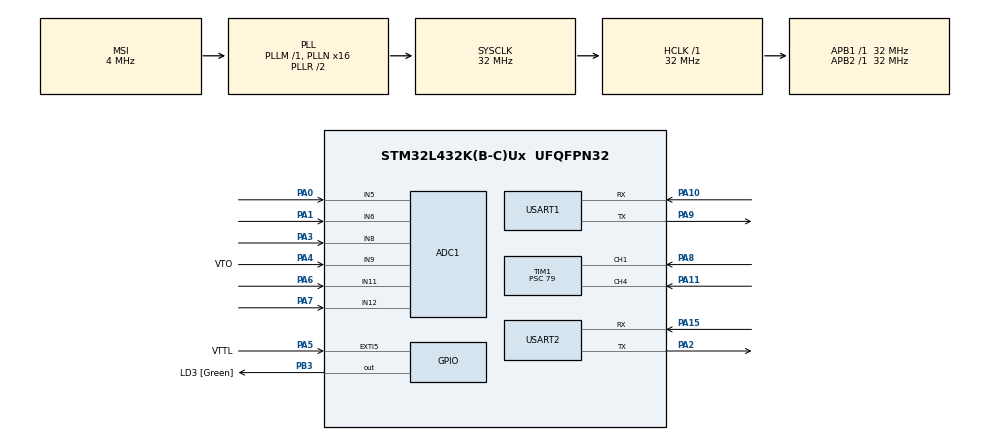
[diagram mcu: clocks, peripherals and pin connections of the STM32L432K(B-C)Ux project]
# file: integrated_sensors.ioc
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ADC1.Channel-0\#ChannelRegularConversion=ADC_CHANNEL_5
ADC1.Channel-1\#ChannelRegularConversion=ADC_CHANNEL_6
ADC1.Channel-3\#ChannelRegularConversion=ADC_CHANNEL_9
ADC1.Channel-4\#ChannelRegularConversion=ADC_CHANNEL_11
ADC1.Channel-5\#ChannelRegularConversion=ADC_CHANNEL_12
ADC1.ContinuousConvMode=ENABLE
ADC1.DMAContinuousRequests=ENABLE
ADC1.NbrOfConversion=5
ADC1.NbrOfConversionFlag=1
ADC1.OffsetNumber-0\#ChannelRegularConversion=ADC_OFFSET_NONE
ADC1.OffsetNumber-1\#ChannelRegularConversion=ADC_OFFSET_NONE
ADC1.OffsetNumber-3\#ChannelRegularConversion=ADC_OFFSET_NONE
ADC1.OffsetNumber-4\#ChannelRegularConversion=ADC_OFFSET_NONE
ADC1.OffsetNumber-5\#ChannelRegularConversion=ADC_OFFSET_NONE
ADC1.OversamplingMode=DISABLE
ADC1.Rank-0\#ChannelRegularConversion=1
ADC1.Rank-1\#ChannelRegularConversion=2
ADC1.Rank-3\#ChannelRegularConversion=3
ADC1.Rank-4\#ChannelRegularConversion=4
ADC1.Rank-5\#ChannelRegularConversion=5
ADC1.SamplingTime-0\#ChannelRegularConversion=ADC_SAMPLETIME_640CYCLES_5
ADC1.SamplingTime-1\#ChannelRegularConversion=ADC_SAMPLETIME_640CYCLES_5
ADC1.SamplingTime-3\#ChannelRegularConversion=ADC_SAMPLETIME_640CYCLES_5
ADC1.SamplingTime-4\#ChannelRegularConversion=ADC_SAMPLETIME_640CYCLES_5
ADC1.SamplingTime-5\#ChannelRegularConversion=ADC_SAMPLETIME_640CYCLES_5
ADC1.master=1
Dma.ADC1.0.Direction=DMA_PERIPH_TO_MEMORY
Dma.ADC1.0.Instance=DMA1_Channel1
Dma.ADC1.0.MemDataAlignment=DMA_MDATAALIGN_HALFWORD
Dma.ADC1.0.MemInc=DMA_MINC_ENABLE
Dma.ADC1.0.Mode=DMA_CIRCULAR
Dma.ADC1.0.PeriphDataAlignment=DMA_PDATAALIGN_HALFWORD
Dma.ADC1.0.PeriphInc=DMA_PINC_DISABLE
Dma.ADC1.0.Priority=DMA_PRIORITY_LOW
Dma.Request0=ADC1
Mcu.Family=STM32L4
Mcu.Name=STM32L432K(B-C)Ux
Mcu.Package=UFQFPN32
NVIC.DMA1_Channel1_IRQn=true\:0\:0\:false\:false\:true\:false\:true\:true
NVIC.EXTI9_5_IRQn=true\:0\:0\:false\:false\:true\:true\:true\:true
NVIC.PriorityGroup=NVIC_PRIORITYGROUP_4
NVIC.TIM1_CC_IRQn=true\:0\:0\:false\:false\:true\:true\:true\:true
NVIC.TIM2_IRQn=true\:0\:0\:false\:false\:true\:true\:true\:true
NVIC.USART2_IRQn=true\:0\:0\:false\:false\:true\:true\:true\:true
PA0.Signal=ADCx_IN5
PA1.Signal=ADCx_IN6
PA10.Mode=Asynchronous
PA10.Signal=USART1_RX
PA11.Signal=S_TIM1_CH4
PA13\ (JTMS-SWDIO).GPIO_Label=SWDIO
PA13\ (JTMS-SWDIO).Mode=Serial_Wire
PA13\ (JTMS-SWDIO).Signal=SYS_JTMS-SWDIO
PA14\ (JTCK-SWCLK).GPIO_Label=SWCLK
PA14\ (JTCK-SWCLK).Mode=Serial_Wire
PA14\ (JTCK-SWCLK).Signal=SYS_JTCK-SWCLK
PA15\ (JTDI).Mode=Asynchronous
PA15\ (JTDI).Signal=USART2_RX
PA2.Mode=Asynchronous
PA2.Signal=USART2_TX
PA3.Signal=ADCx_IN8
PA4.GPIO_Label=VTO
PA4.Signal=ADCx_IN9
PA5.GPIO_Label=VTTL
PA5.GPIO_ModeDefaultEXTI=GPIO_MODE_IT_RISING
PA5.Signal=GPXTI5
PA6.Signal=ADCx_IN11
PA7.Signal=ADCx_IN12
PA8.Signal=S_TIM1_CH1
PA9.Mode=Asynchronous
PA9.Signal=USART1_TX
PB3\ (JTDO-TRACESWO).GPIO_Label=LD3 [Green]
PB3\ (JTDO-TRACESWO).Signal=GPIO_Output
PC14-OSC32_IN\ (PC14).Mode=LSE-External-Oscillator
PC14-OSC32_IN\ (PC14).Signal=RCC_OSC32_IN
PC15-OSC32_OUT\ (PC15).Mode=LSE-External-Oscillator
PC15-OSC32_OUT\ (PC15).Signal=RCC_OSC32_OUT
ProjectManager.HeapSize=0x200
ProjectManager.StackSize=0x400
ProjectManager.TargetToolchain=STM32CubeIDE
RCC.ADCFreq_Value=32000000
RCC.AHBFreq_Value=32000000
RCC.APB1Freq_Value=32000000
RCC.APB1TimFreq_Value=32000000
RCC.APB2Freq_Value=32000000
RCC.APB2TimFreq_Value=32000000
RCC.CortexFreq_Value=32000000
RCC.HCLKFreq_Value=32000000
RCC.HSE_VALUE=8000000
RCC.HSI16_VALUE=16000000
RCC.HSI48_VALUE=48000000
RCC.HSI_VALUE=16000000
RCC.MSI_VALUE=4000000
RCC.PLLMUL=RCC_PLLMUL_4
RCC.PLLN=16
RCC.PLLSAI1N=16
RCC.SYSCLKFreq_VALUE=32000000
RCC.SYSCLKSource=RCC_SYSCLKSOURCE_PLLCLK
RCC.USBFreq_Value=32000000
RCC.VCOOutputFreq_Value=64000000
SH.ADCx_IN11.0=ADC1_IN11,IN11-Single-Ended
SH.ADCx_IN12.0=ADC1_IN12,IN12-Single-Ended
SH.ADCx_IN5.0=ADC1_IN5,IN5-Single-Ended
SH.ADCx_IN6.0=ADC1_IN6,IN6-Single-Ended
SH.ADCx_IN8.0=ADC1_IN8,IN8-Single-Ended
SH.ADCx_IN9.0=ADC1_IN9,IN9-Single-Ended
SH.S_TIM1_CH1.0=TIM1_CH1,Input_Capture1_from_TI1
SH.S_TIM1_CH4.0=TIM1_CH4,Input_Capture4_from_TI4
TIM1.Channel-Input_Capture1_from_TI1=TIM_CHANNEL_1
TIM1.Channel-Input_Capture4_from_TI4=TIM_CHANNEL_4
TIM1.Prescaler=79
TIM2.AutoReloadPreload=TIM_AUTORELOAD_PRELOAD_ENABLE
TIM2.Period=999
TIM2.Prescaler=15
USART1.VirtualMode-Asynchronous=VM_ASYNC
USART2.VirtualMode-Asynchronous=VM_ASYNC
VP_TIM2_VS_ClockSourceINT.Mode=Internal
board=NUCLEO-L432KC

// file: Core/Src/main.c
/* USER CODE BEGIN Header */
/**
  ******************************************************************************
  * @file           : main.c
  * @brief          : Main program body
  ******************************************************************************
  * @attention
  *
  * Copyright (c) 2026 STMicroelectronics.
  * All rights reserved.
  *
  * This software is licensed under terms that can be found in the LICENSE file
  * in the root directory of this software component.
  * If no LICENSE file comes with this software, it is provided AS-IS.
  *
  ******************************************************************************
  */
/* USER CODE END Header */
#include "main.h"

/* USER CODE BEGIN Includes */
#include <stdio.h>
#include <string.h>
#include <math.h>
/* USER CODE END Includes */

/* USER CODE BEGIN PD */

// pressure sensors
#define ADC_MAX_COUNT        4095.0f
#define VREF_VOLTS           3.3f
#define DIVIDER_RATIO        0.5f
#define SENSOR_V_AT_ZERO    0.5f
#define SENSOR_VOLTAGE_SPAN 4.0f
#define SENSOR_PSI_MAX      30.0f
#define PSI_TO_MMHG         51.71493f
#define MA_DEPTH             10

#define FLOW_PULSES_PER_LITRE  5880.0

/* USER CODE END PD */

ADC_HandleTypeDef hadc1;
DMA_HandleTypeDef hdma_adc1;

TIM_HandleTypeDef htim1;
TIM_HandleTypeDef htim2;

UART_HandleTypeDef huart1;
UART_HandleTypeDef huart2;

/* USER CODE BEGIN PV */

// adc and uart variables
volatile uint16_t ADCvalues[5];
char msg[200];

// thermistor variables
#define ADC_MAX 4095.0
#define V_REF   3.3
#define WINDOW_SIZE 3

double temp1 = 0;
double temp2 = 0;

typedef struct {
    uint16_t buf[WINDOW_SIZE];
    uint8_t  idx;
    uint8_t  count;
} MovingAverage_t;

MovingAverage_t avg1 = {0};
MovingAverage_t avg2 = {0};

// bubble detector variables
volatile uint8_t bubble_detection = 0;
volatile uint8_t bubble_sensor_failed = 0;
volatile uint16_t VTO_ADC_12Bit;
volatile double VTO;
volatile double VTO_NORM = 0.3;

const char *bubble_detector_status = "NORMAL";

// timer variables
volatile uint8_t timerReady = 0;
uint32_t lastSlow = 0;

// pressure variables
static volatile uint8_t  current_channel = 0;
static volatile uint32_t raw_sensor1 = 0;
static volatile uint32_t raw_sensor2 = 0;
static volatile uint8_t  data_ready = 0;
float psi1 = 0;
float psi2 = 0;

typedef struct {
    float   buf[MA_DEPTH];
    uint8_t idx;
    uint8_t count;
} PressureMA_t;

static PressureMA_t pMA1 = {0}, pMA2 = {0};

// flow variables
/* --- Flow (written by ISR, read by main) --- */
volatile uint32_t pulse_count_1 = 0;   /* TIM2_CH1 / PA5 */
volatile uint32_t pulse_count_4 = 0;   /* TIM2_CH4 / PA3 */

/* Flow MA */
typedef struct {
    double avg_mLmin;
    uint8_t initialized;
} flow_ema_t;
static flow_ema_t flow1 = {0};
static flow_ema_t flow2 = {0};
#define FLOW_EMA_ALPHA 0.3

/* USER CODE END PV */

void SystemClock_Config(void);
static void MX_GPIO_Init(void);
static void MX_DMA_Init(void);
static void MX_USART2_UART_Init(void);
static void MX_ADC1_Init(void);
static void MX_TIM2_Init(void);
static void MX_TIM1_Init(void);
static void MX_USART1_UART_Init(void);
/* USER CODE BEGIN PFP */
double readSmoothedTemperature(MovingAverage_t *ma, uint16_t rawSample);
float readPressureMMHg(PressureMA_t *ma, uint32_t rawADC);
static void flow_update(flow_ema_t *f, uint32_t window_pulses);

/* USER CODE END PFP */

/* USER CODE BEGIN 0 */

void HAL_GPIO_EXTI_Callback(uint16_t GPIO_Pin){

	// update GPIO_Pin to the VTTL_Pin in use on integrated STM
	if (GPIO_Pin == VTTL_Pin){
		// edge detected && VTTL HIGH
		bubble_detection = 1;
	}

}

void HAL_TIM_PeriodElapsedCallback(TIM_HandleTypeDef *htim)
{
    if (htim->Instance == TIM2) {
        // runs every 1ms
    	timerReady = 1;
    }
}

/* USER CODE END 0 */

int main(void)
{

  /* MCU Configuration--------------------------------------------------------*/

  /* Reset of all peripherals, Initializes the Flash interface and the Systick. */
  HAL_Init();

  /* Configure the system clock */
  SystemClock_Config();

  /* Initialize all configured peripherals */
  MX_GPIO_Init();
  MX_DMA_Init();
  MX_USART2_UART_Init();
  MX_ADC1_Init();
  MX_TIM2_Init();
  MX_TIM1_Init();
  MX_USART1_UART_Init();
  /* USER CODE BEGIN 2 */
  HAL_ADC_Start_DMA(&hadc1, (uint32_t *) ADCvalues, 5);
  HAL_TIM_Base_Start_IT(&htim2);

  /* Start flow capture */
  HAL_TIM_IC_Start_IT(&htim1, TIM_CHANNEL_1);
  HAL_TIM_IC_Start_IT(&htim1, TIM_CHANNEL_2);

  /* USER CODE END 2 */

  /* Infinite loop */
  while (1)
  {

    /* USER CODE BEGIN 3 */

	  // bubble detector (TIM2) (1ms)
	  if (timerReady) {
		  timerReady = 0;
		  VTO_ADC_12Bit = (uint16_t)(ADCvalues[2]);
		  VTO = (VTO_ADC_12Bit * V_REF) / ADC_MAX;
		  if (VTO < 0.5)
		  {
			  bubble_detector_status = "NORMAL";
		  }
		  else if (VTO < 2.0)
		  {
			  bubble_detector_status = "MARGINAL";
		  }
		  else
		  {
			  bubble_detector_status = "FAILED";
		  }
		}

	  uint32_t now = HAL_GetTick();

	  //triggers every 1 second
	  if (now - lastSlow >= 1000) {
		  lastSlow = now;

		  //thermistors
		  temp1 = readSmoothedTemperature(&avg1, ADCvalues[0]);
		  temp2 = readSmoothedTemperature(&avg2, ADCvalues[1]);

		  // pressure sensors
		  psi1 = readPressureMMHg(&pMA1, ADCvalues[3]);
		  psi2 = readPressureMMHg(&pMA2, ADCvalues[4]);

		  // flow
		  __disable_irq();
		  uint32_t p1 = pulse_count_1; pulse_count_1 = 0;
		  uint32_t p4 = pulse_count_4; pulse_count_4 = 0;
		  __enable_irq();

		  flow_update(&flow1, p1);
		  flow_update(&flow2, p4);

		  // send results through UART
		  //sprintf(msg, "[T1=%.2f, T2=%.2f, Bubble=%d, Status=%s, P1=%.2f, P2=%.2f, F1=%.2f, F2=%.2f]\r\n",
				  //temp1, temp2, bubble_detection, bubble_detector_status, psi1, psi2, flow1.avg_mLmin, flow2.avg_mLmin);
		  //HAL_UART_Transmit(&huart2, (uint8_t*)msg, strlen(msg), HAL_MAX_DELAY);

		  // --- TEST VALUES (remove for production) ---
		  temp1 = 36.75f;
		  temp2 = 37.20f;
		  bubble_detection = 1;
		  bubble_detector_status = "OK";
		  psi1 = 12.34f;
		  psi2 = 11.98f;
		  flow1.avg_mLmin = 250.50f;
		  flow2.avg_mLmin = 248.75f;
		  // -
		  sprintf(msg, "[T1=%.2f, T2=%.2f, Bubble=%d, Status=%s, P1=%.2f, P2=%.2f, F1=%.2f, F2=%.2f]\r\n",
		          temp1, temp2, bubble_detection, bubble_detector_status, psi1, psi2, flow1.avg_mLmin, flow2.avg_mLmin);

		  HAL_UART_Transmit(&huart1, (uint8_t*)msg, strlen(msg), HAL_MAX_DELAY);

		  bubble_detection = 0;
	  }

	  bubble_sensor_failed = 0;

  }
  /* USER CODE END 3 */
}

void SystemClock_Config(void)
{
  RCC_OscInitTypeDef RCC_OscInitStruct = {0};
  RCC_ClkInitTypeDef RCC_ClkInitStruct = {0};

  /** Configure the main internal regulator output voltage
  */
  if (HAL_PWREx_ControlVoltageScaling(PWR_REGULATOR_VOLTAGE_SCALE1) != HAL_OK)
  {
    Error_Handler();
  }

  /** Configure LSE Drive Capability
  */
  HAL_PWR_EnableBkUpAccess();
  __HAL_RCC_LSEDRIVE_CONFIG(RCC_LSEDRIVE_LOW);

  /** Initializes the RCC Oscillators according to the specified parameters
  * in the RCC_OscInitTypeDef structure.
  */
  RCC_OscInitStruct.OscillatorType = RCC_OSCILLATORTYPE_LSE|RCC_OSCILLATORTYPE_MSI;
  RCC_OscInitStruct.LSEState = RCC_LSE_ON;
  RCC_OscInitStruct.MSIState = RCC_MSI_ON;
  RCC_OscInitStruct.MSICalibrationValue = 0;
  RCC_OscInitStruct.MSIClockRange = RCC_MSIRANGE_6;
  RCC_OscInitStruct.PLL.PLLState = RCC_PLL_ON;
  RCC_OscInitStruct.PLL.PLLSource = RCC_PLLSOURCE_MSI;
  RCC_OscInitStruct.PLL.PLLM = 1;
  RCC_OscInitStruct.PLL.PLLN = 16;
  RCC_OscInitStruct.PLL.PLLP = RCC_PLLP_DIV7;
  RCC_OscInitStruct.PLL.PLLQ = RCC_PLLQ_DIV2;
  RCC_OscInitStruct.PLL.PLLR = RCC_PLLR_DIV2;
  if (HAL_RCC_OscConfig(&RCC_OscInitStruct) != HAL_OK)
  {
    Error_Handler();
  }

  /** Initializes the CPU, AHB and APB buses clocks
  */
  RCC_ClkInitStruct.ClockType = RCC_CLOCKTYPE_HCLK|RCC_CLOCKTYPE_SYSCLK
                              |RCC_CLOCKTYPE_PCLK1|RCC_CLOCKTYPE_PCLK2;
  RCC_ClkInitStruct.SYSCLKSource = RCC_SYSCLKSOURCE_PLLCLK;
  RCC_ClkInitStruct.AHBCLKDivider = RCC_SYSCLK_DIV1;
  RCC_ClkInitStruct.APB1CLKDivider = RCC_HCLK_DIV1;
  RCC_ClkInitStruct.APB2CLKDivider = RCC_HCLK_DIV1;

  if (HAL_RCC_ClockConfig(&RCC_ClkInitStruct, FLASH_LATENCY_1) != HAL_OK)
  {
    Error_Handler();
  }

  /** Enable MSI Auto calibration
  */
  HAL_RCCEx_EnableMSIPLLMode();
}

static void MX_ADC1_Init(void)
{

  ADC_ChannelConfTypeDef sConfig = {0};

  /** Common config
  */
  hadc1.Instance = ADC1;
  hadc1.Init.ClockPrescaler = ADC_CLOCK_ASYNC_DIV1;
  hadc1.Init.Resolution = ADC_RESOLUTION_12B;
  hadc1.Init.DataAlign = ADC_DATAALIGN_RIGHT;
  hadc1.Init.ScanConvMode = ADC_SCAN_ENABLE;
  hadc1.Init.EOCSelection = ADC_EOC_SINGLE_CONV;
  hadc1.Init.LowPowerAutoWait = DISABLE;
  hadc1.Init.ContinuousConvMode = ENABLE;
  hadc1.Init.NbrOfConversion = 5;
  hadc1.Init.DiscontinuousConvMode = DISABLE;
  hadc1.Init.ExternalTrigConv = ADC_SOFTWARE_START;
  hadc1.Init.ExternalTrigConvEdge = ADC_EXTERNALTRIGCONVEDGE_NONE;
  hadc1.Init.DMAContinuousRequests = ENABLE;
  hadc1.Init.Overrun = ADC_OVR_DATA_PRESERVED;
  hadc1.Init.OversamplingMode = DISABLE;
  if (HAL_ADC_Init(&hadc1) != HAL_OK)
  {
    Error_Handler();
  }

  /** Configure Regular Channel
  */
  sConfig.Channel = ADC_CHANNEL_5;
  sConfig.Rank = ADC_REGULAR_RANK_1;
  sConfig.SamplingTime = ADC_SAMPLETIME_640CYCLES_5;
  sConfig.SingleDiff = ADC_SINGLE_ENDED;
  sConfig.OffsetNumber = ADC_OFFSET_NONE;
  sConfig.Offset = 0;
  if (HAL_ADC_ConfigChannel(&hadc1, &sConfig) != HAL_OK)
  {
    Error_Handler();
  }

  /** Configure Regular Channel
  */
  sConfig.Channel = ADC_CHANNEL_6;
  sConfig.Rank = ADC_REGULAR_RANK_2;
  if (HAL_ADC_ConfigChannel(&hadc1, &sConfig) != HAL_OK)
  {
    Error_Handler();
  }

  /** Configure Regular Channel
  */
  sConfig.Channel = ADC_CHANNEL_9;
  sConfig.Rank = ADC_REGULAR_RANK_3;
  if (HAL_ADC_ConfigChannel(&hadc1, &sConfig) != HAL_OK)
  {
    Error_Handler();
  }

  /** Configure Regular Channel
  */
  sConfig.Channel = ADC_CHANNEL_11;
  sConfig.Rank = ADC_REGULAR_RANK_4;
  if (HAL_ADC_ConfigChannel(&hadc1, &sConfig) != HAL_OK)
  {
    Error_Handler();
  }

  /** Configure Regular Channel
  */
  sConfig.Channel = ADC_CHANNEL_12;
  sConfig.Rank = ADC_REGULAR_RANK_5;
  if (HAL_ADC_ConfigChannel(&hadc1, &sConfig) != HAL_OK)
  {
    Error_Handler();
  }

}

static void MX_TIM1_Init(void)
{

  TIM_MasterConfigTypeDef sMasterConfig = {0};
  TIM_IC_InitTypeDef sConfigIC = {0};

  htim1.Instance = TIM1;
  htim1.Init.Prescaler = 79;
  htim1.Init.CounterMode = TIM_COUNTERMODE_UP;
  htim1.Init.Period = 65535;
  htim1.Init.ClockDivision = TIM_CLOCKDIVISION_DIV1;
  htim1.Init.RepetitionCounter = 0;
  htim1.Init.AutoReloadPreload = TIM_AUTORELOAD_PRELOAD_DISABLE;
  if (HAL_TIM_IC_Init(&htim1) != HAL_OK)
  {
    Error_Handler();
  }
  sMasterConfig.MasterOutputTrigger = TIM_TRGO_RESET;
  sMasterConfig.MasterOutputTrigger2 = TIM_TRGO2_RESET;
  sMasterConfig.MasterSlaveMode = TIM_MASTERSLAVEMODE_DISABLE;
  if (HAL_TIMEx_MasterConfigSynchronization(&htim1, &sMasterConfig) != HAL_OK)
  {
    Error_Handler();
  }
  sConfigIC.ICPolarity = TIM_INPUTCHANNELPOLARITY_RISING;
  sConfigIC.ICSelection = TIM_ICSELECTION_DIRECTTI;
  sConfigIC.ICPrescaler = TIM_ICPSC_DIV1;
  sConfigIC.ICFilter = 0;
  if (HAL_TIM_IC_ConfigChannel(&htim1, &sConfigIC, TIM_CHANNEL_1) != HAL_OK)
  {
    Error_Handler();
  }
  if (HAL_TIM_IC_ConfigChannel(&htim1, &sConfigIC, TIM_CHANNEL_4) != HAL_OK)
  {
    Error_Handler();
  }

}

static void MX_TIM2_Init(void)
{

  TIM_ClockConfigTypeDef sClockSourceConfig = {0};
  TIM_MasterConfigTypeDef sMasterConfig = {0};

  htim2.Instance = TIM2;
  htim2.Init.Prescaler = 15;
  htim2.Init.CounterMode = TIM_COUNTERMODE_UP;
  htim2.Init.Period = 999;
  htim2.Init.ClockDivision = TIM_CLOCKDIVISION_DIV1;
  htim2.Init.AutoReloadPreload = TIM_AUTORELOAD_PRELOAD_ENABLE;
  if (HAL_TIM_Base_Init(&htim2) != HAL_OK)
  {
    Error_Handler();
  }
  sClockSourceConfig.ClockSource = TIM_CLOCKSOURCE_INTERNAL;
  if (HAL_TIM_ConfigClockSource(&htim2, &sClockSourceConfig) != HAL_OK)
  {
    Error_Handler();
  }
  sMasterConfig.MasterOutputTrigger = TIM_TRGO_RESET;
  sMasterConfig.MasterSlaveMode = TIM_MASTERSLAVEMODE_DISABLE;
  if (HAL_TIMEx_MasterConfigSynchronization(&htim2, &sMasterConfig) != HAL_OK)
  {
    Error_Handler();
  }

}

static void MX_USART1_UART_Init(void)
{

  huart1.Instance = USART1;
  huart1.Init.BaudRate = 115200;
  huart1.Init.WordLength = UART_WORDLENGTH_8B;
  huart1.Init.StopBits = UART_STOPBITS_1;
  huart1.Init.Parity = UART_PARITY_NONE;
  huart1.Init.Mode = UART_MODE_TX_RX;
  huart1.Init.HwFlowCtl = UART_HWCONTROL_NONE;
  huart1.Init.OverSampling = UART_OVERSAMPLING_16;
  huart1.Init.OneBitSampling = UART_ONE_BIT_SAMPLE_DISABLE;
  huart1.AdvancedInit.AdvFeatureInit = UART_ADVFEATURE_NO_INIT;
  if (HAL_UART_Init(&huart1) != HAL_OK)
  {
    Error_Handler();
  }

}

static void MX_USART2_UART_Init(void)
{

  huart2.Instance = USART2;
  huart2.Init.BaudRate = 115200;
  huart2.Init.WordLength = UART_WORDLENGTH_8B;
  huart2.Init.StopBits = UART_STOPBITS_1;
  huart2.Init.Parity = UART_PARITY_NONE;
  huart2.Init.Mode = UART_MODE_TX_RX;
  huart2.Init.HwFlowCtl = UART_HWCONTROL_NONE;
  huart2.Init.OverSampling = UART_OVERSAMPLING_16;
  huart2.Init.OneBitSampling = UART_ONE_BIT_SAMPLE_DISABLE;
  huart2.AdvancedInit.AdvFeatureInit = UART_ADVFEATURE_NO_INIT;
  if (HAL_UART_Init(&huart2) != HAL_OK)
  {
    Error_Handler();
  }

}

static void MX_DMA_Init(void)
{

  /* DMA controller clock enable */
  __HAL_RCC_DMA1_CLK_ENABLE();

  /* DMA interrupt init */
  /* DMA1_Channel1_IRQn interrupt configuration */
  HAL_NVIC_SetPriority(DMA1_Channel1_IRQn, 0, 0);
  HAL_NVIC_EnableIRQ(DMA1_Channel1_IRQn);

}

static void MX_GPIO_Init(void)
{
  GPIO_InitTypeDef GPIO_InitStruct = {0};

  /* GPIO Ports Clock Enable */
  __HAL_RCC_GPIOC_CLK_ENABLE();
  __HAL_RCC_GPIOA_CLK_ENABLE();
  __HAL_RCC_GPIOB_CLK_ENABLE();

  /*Configure GPIO pin Output Level */
  HAL_GPIO_WritePin(LD3_GPIO_Port, LD3_Pin, GPIO_PIN_RESET);

  /*Configure GPIO pin : VTTL_Pin */
  GPIO_InitStruct.Pin = VTTL_Pin;
  GPIO_InitStruct.Mode = GPIO_MODE_IT_RISING;
  GPIO_InitStruct.Pull = GPIO_NOPULL;
  HAL_GPIO_Init(VTTL_GPIO_Port, &GPIO_InitStruct);

  /*Configure GPIO pin : LD3_Pin */
  GPIO_InitStruct.Pin = LD3_Pin;
  GPIO_InitStruct.Mode = GPIO_MODE_OUTPUT_PP;
  GPIO_InitStruct.Pull = GPIO_NOPULL;
  GPIO_InitStruct.Speed = GPIO_SPEED_FREQ_LOW;
  HAL_GPIO_Init(LD3_GPIO_Port, &GPIO_InitStruct);

  /* EXTI interrupt init*/
  HAL_NVIC_SetPriority(EXTI9_5_IRQn, 0, 0);
  HAL_NVIC_EnableIRQ(EXTI9_5_IRQn);

}

/* USER CODE BEGIN 4 */
double readSmoothedTemperature(MovingAverage_t *ma, uint16_t rawSample)
{
    // Update moving average of raw ADC counts
    ma->buf[ma->idx] = rawSample;
    ma->idx = (ma->idx + 1) % WINDOW_SIZE;
    if (ma->count < WINDOW_SIZE) ma->count++;

    uint32_t sum = 0;
    for (uint8_t i = 0; i < ma->count; i++) {
        sum += ma->buf[i];
    }
    uint16_t avgRaw = (uint16_t)(sum / ma->count);

    if (avgRaw >= 4094)
        avgRaw = 4094;

    if (avgRaw <= 1)
        avgRaw = 1;

    // Convert smoothed ADC value to temperature
    double Vout = (avgRaw / ADC_MAX) * V_REF;
    double temperature = -2.945 * Vout + 41.701;
    return temperature;
}

float readPressureMMHg(PressureMA_t *ma, uint32_t rawADC)
{
    float v_adc = ((float)rawADC / ADC_MAX_COUNT) * VREF_VOLTS;
    float v_sensor = v_adc / DIVIDER_RATIO;

    float psi = (v_sensor - SENSOR_V_AT_ZERO) /
                (SENSOR_VOLTAGE_SPAN / SENSOR_PSI_MAX);

    if (psi < 0.0f)
        psi = 0.0f;
    if (psi > SENSOR_PSI_MAX)
        psi = SENSOR_PSI_MAX;

    float mmHg = psi * PSI_TO_MMHG;

    ma->buf[ma->idx] = mmHg;
    ma->idx = (ma->idx + 1) % MA_DEPTH;
    if (ma->count < MA_DEPTH)
        ma->count++;

    float sum = 0.0f;
    for (uint8_t i = 0; i < ma->count; i++)
        sum += ma->buf[i];

    return sum / ma->count;
}

void HAL_TIM_IC_CaptureCallback(TIM_HandleTypeDef *htim)
{
    if (htim->Instance != TIM1) return;

    if (htim->Channel == HAL_TIM_ACTIVE_CHANNEL_1)
    {
        pulse_count_1++;
    }
    else if (htim->Channel == HAL_TIM_ACTIVE_CHANNEL_2)
    {
        pulse_count_4++;
        HAL_GPIO_TogglePin(LD3_GPIO_Port, LD3_Pin);
    }
}

static void flow_update(flow_ema_t *f, uint32_t window_pulses)
{
    double flow_Lmin  = (double)window_pulses * 60.0 / FLOW_PULSES_PER_LITRE;
    double flow_mLmin = flow_Lmin * 1000.0;

    if (!f->initialized) {
        f->avg_mLmin = flow_mLmin;
        f->initialized = 1;
    } else {
        f->avg_mLmin = FLOW_EMA_ALPHA * flow_mLmin + (1.0 - FLOW_EMA_ALPHA) * f->avg_mLmin;
    }
}

/* USER CODE END 4 */

void Error_Handler(void)
{
  __disable_irq();
  while (1)
  {
  }
}
